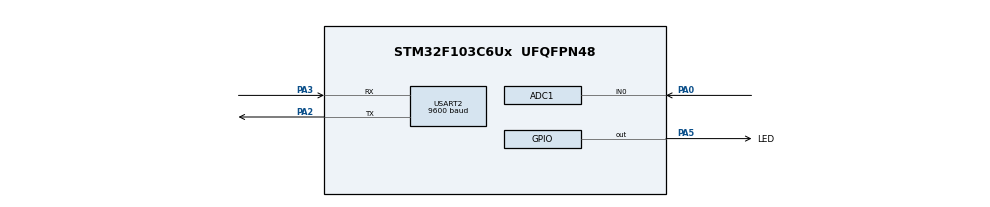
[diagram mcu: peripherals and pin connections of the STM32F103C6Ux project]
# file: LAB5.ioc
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ADC1.Channel-1\#ChannelRegularConversion=ADC_CHANNEL_0
ADC1.NbrOfConversionFlag=1
ADC1.Rank-1\#ChannelRegularConversion=1
ADC1.SamplingTime-1\#ChannelRegularConversion=ADC_SAMPLETIME_1CYCLE_5
ADC1.master=1
Mcu.Family=STM32F1
Mcu.Name=STM32F103C6Ux
Mcu.Package=UFQFPN48
NVIC.PriorityGroup=NVIC_PRIORITYGROUP_4
NVIC.TIM2_IRQn=true\:0\:0\:false\:false\:true\:true\:true
NVIC.USART2_IRQn=true\:0\:0\:false\:false\:true\:true\:true
PA0-WKUP.Signal=ADCx_IN0
PA2.Mode=Asynchronous
PA2.Signal=USART2_TX
PA3.Mode=Asynchronous
PA3.Signal=USART2_RX
PA5.GPIO_Label=LED
PA5.Signal=GPIO_Output
ProjectManager.HeapSize=0x200
ProjectManager.StackSize=0x400
ProjectManager.TargetToolchain=STM32CubeIDE
RCC.APB1Freq_Value=8000000
RCC.APB2Freq_Value=8000000
SH.ADCx_IN0.0=ADC1_IN0,IN0
TIM2.Period=9
TIM2.Prescaler=7999
USART2.BaudRate=9600
USART2.VirtualMode=VM_ASYNC
VP_SYS_VS_ND.Mode=No_Debug
VP_TIM2_VS_ClockSourceINT.Mode=Internal
board=custom

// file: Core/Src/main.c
/* USER CODE BEGIN Header */
/**
  ******************************************************************************
  * @file           : main.c
  * @brief          : Main program body
  ******************************************************************************
  * @attention
  *
  * <h2><center>&copy; Copyright (c) 2022 STMicroelectronics.
  * All rights reserved.</center></h2>
  *
  * This software component is licensed by ST under BSD 3-Clause license,
  * the "License"; You may not use this file except in compliance with the
  * License. You may obtain a copy of the License at:
  *                        opensource.org/licenses/BSD-3-Clause
  *
  ******************************************************************************
  */
/* USER CODE END Header */
#include "main.h"
#include "software_timer.h"
#include "stdlib.h"
#include "stdio.h"

ADC_HandleTypeDef hadc1;

TIM_HandleTypeDef htim2;

UART_HandleTypeDef huart2;

void SystemClock_Config(void);
static void MX_GPIO_Init(void);
static void MX_TIM2_Init(void);
static void MX_USART2_UART_Init(void);
static void MX_ADC1_Init(void);
/* USER CODE BEGIN PFP */
#define MAX_BUFFER_SIZE 30
#define RST 0
#define OK 1

uint8_t buffer[MAX_BUFFER_SIZE];

uint8_t index_buffer = 0;
uint8_t buffer_flag = 0;
uint8_t temp = 0;

uint32_t old_value;
uint32_t ADC_value;

int command_status = RST;
/* USER CODE END PFP */

/* USER CODE BEGIN 0 */
void HAL_UART_RxCpltCallback (UART_HandleTypeDef * huart){
	if( huart->Instance == USART2 ) {
		HAL_UART_Transmit (&huart2 , &temp , 1, 50);
		buffer[index_buffer++] = temp;

		if (buffer[index_buffer-1] == 8) {
			index_buffer-=2;
		}

		if (index_buffer == 30) index_buffer = 0;
		buffer_flag  = 1;
		HAL_UART_Receive_IT (&huart2, &temp, 1);
	}
}

int check(int loc){
	if (buffer[loc] == 13){
		return 1;
	}
	return 0;
}

void command_parser_fsm(void){
	switch(command_status){
		case RST:{
		  if (buffer[0] == '!' && buffer[1] == 'R' && buffer[2] == 'S' && buffer[3] == 'T' && buffer[4] == '#'){
			  old_value = ADC_value;
			  command_status = OK;
			  index_buffer = 0;
		  }
			break;
		}
		case OK:{
		  if (buffer[0] == '!' && buffer[1] == 'O' && buffer[2] == 'K' && buffer[3] == '#'){
			  command_status = RST;
			  index_buffer = 0;
		  }
		}
	}
}
/* USER CODE END 0 */

int main(void)
{

  /* MCU Configuration--------------------------------------------------------*/

  /* Reset of all peripherals, Initializes the Flash interface and the Systick. */
  HAL_Init();

  /* Configure the system clock */
  SystemClock_Config();

  /* Initialize all configured peripherals */
  MX_GPIO_Init();
  MX_TIM2_Init();
  MX_USART2_UART_Init();
  MX_ADC1_Init();
  /* USER CODE BEGIN 2 */
  HAL_TIM_Base_Start_IT (&htim2);
  HAL_UART_Receive_IT(&huart2, &temp, 1);

  HAL_ADC_Start(&hadc1);
  /* USER CODE END 2 */

  /* Infinite loop */
  /* USER CODE BEGIN WHILE */
  char str[20];
  setTimer0(100);
  while (1)
  {
    /* USER CODE END WHILE */
	  ADC_value = HAL_ADC_GetValue(&hadc1) ;
	 	  if(buffer_flag == 1){
	 		  buffer_flag = 0;
	 		  if (check(index_buffer-1) == 1){
	 			  command_parser_fsm();
	 		  }
	 	  }
	 	  // State ADC
	 	  if (command_status == 1){
	 		  if (timer0_flag == 1){
	 			  HAL_UART_Transmit (&huart2 , (void *) str , sprintf(str, "!ADC=%d#\r\n",old_value) , 500) ;
	 			  setTimer0(3000);
	 		  }
	 	  }
	 	  HAL_GPIO_TogglePin(LED_GPIO_Port , LED_Pin ) ;
	 	  HAL_Delay(500);
  }
}

void SystemClock_Config(void)
{
  RCC_OscInitTypeDef RCC_OscInitStruct = {0};
  RCC_ClkInitTypeDef RCC_ClkInitStruct = {0};
  RCC_PeriphCLKInitTypeDef PeriphClkInit = {0};

  /** Initializes the RCC Oscillators according to the specified parameters
  * in the RCC_OscInitTypeDef structure.
  */
  RCC_OscInitStruct.OscillatorType = RCC_OSCILLATORTYPE_HSI;
  RCC_OscInitStruct.HSIState = RCC_HSI_ON;
  RCC_OscInitStruct.HSICalibrationValue = RCC_HSICALIBRATION_DEFAULT;
  RCC_OscInitStruct.PLL.PLLState = RCC_PLL_NONE;
  if (HAL_RCC_OscConfig(&RCC_OscInitStruct) != HAL_OK)
  {
    Error_Handler();
  }
  /** Initializes the CPU, AHB and APB buses clocks
  */
  RCC_ClkInitStruct.ClockType = RCC_CLOCKTYPE_HCLK|RCC_CLOCKTYPE_SYSCLK
                              |RCC_CLOCKTYPE_PCLK1|RCC_CLOCKTYPE_PCLK2;
  RCC_ClkInitStruct.SYSCLKSource = RCC_SYSCLKSOURCE_HSI;
  RCC_ClkInitStruct.AHBCLKDivider = RCC_SYSCLK_DIV1;
  RCC_ClkInitStruct.APB1CLKDivider = RCC_HCLK_DIV1;
  RCC_ClkInitStruct.APB2CLKDivider = RCC_HCLK_DIV1;

  if (HAL_RCC_ClockConfig(&RCC_ClkInitStruct, FLASH_LATENCY_0) != HAL_OK)
  {
    Error_Handler();
  }
  PeriphClkInit.PeriphClockSelection = RCC_PERIPHCLK_ADC;
  PeriphClkInit.AdcClockSelection = RCC_ADCPCLK2_DIV2;
  if (HAL_RCCEx_PeriphCLKConfig(&PeriphClkInit) != HAL_OK)
  {
    Error_Handler();
  }
}

static void MX_ADC1_Init(void)
{

  ADC_ChannelConfTypeDef sConfig = {0};

  /** Common config
  */
  hadc1.Instance = ADC1;
  hadc1.Init.ScanConvMode = ADC_SCAN_DISABLE;
  hadc1.Init.ContinuousConvMode = DISABLE;
  hadc1.Init.DiscontinuousConvMode = DISABLE;
  hadc1.Init.ExternalTrigConv = ADC_SOFTWARE_START;
  hadc1.Init.DataAlign = ADC_DATAALIGN_RIGHT;
  hadc1.Init.NbrOfConversion = 1;
  if (HAL_ADC_Init(&hadc1) != HAL_OK)
  {
    Error_Handler();
  }
  /** Configure Regular Channel
  */
  sConfig.Channel = ADC_CHANNEL_0;
  sConfig.Rank = ADC_REGULAR_RANK_1;
  sConfig.SamplingTime = ADC_SAMPLETIME_1CYCLE_5;
  if (HAL_ADC_ConfigChannel(&hadc1, &sConfig) != HAL_OK)
  {
    Error_Handler();
  }

}

static void MX_TIM2_Init(void)
{

  TIM_ClockConfigTypeDef sClockSourceConfig = {0};
  TIM_MasterConfigTypeDef sMasterConfig = {0};

  htim2.Instance = TIM2;
  htim2.Init.Prescaler = 7999;
  htim2.Init.CounterMode = TIM_COUNTERMODE_UP;
  htim2.Init.Period = 9;
  htim2.Init.ClockDivision = TIM_CLOCKDIVISION_DIV1;
  htim2.Init.AutoReloadPreload = TIM_AUTORELOAD_PRELOAD_DISABLE;
  if (HAL_TIM_Base_Init(&htim2) != HAL_OK)
  {
    Error_Handler();
  }
  sClockSourceConfig.ClockSource = TIM_CLOCKSOURCE_INTERNAL;
  if (HAL_TIM_ConfigClockSource(&htim2, &sClockSourceConfig) != HAL_OK)
  {
    Error_Handler();
  }
  sMasterConfig.MasterOutputTrigger = TIM_TRGO_RESET;
  sMasterConfig.MasterSlaveMode = TIM_MASTERSLAVEMODE_DISABLE;
  if (HAL_TIMEx_MasterConfigSynchronization(&htim2, &sMasterConfig) != HAL_OK)
  {
    Error_Handler();
  }

}

static void MX_USART2_UART_Init(void)
{

  huart2.Instance = USART2;
  huart2.Init.BaudRate = 9600;
  huart2.Init.WordLength = UART_WORDLENGTH_8B;
  huart2.Init.StopBits = UART_STOPBITS_1;
  huart2.Init.Parity = UART_PARITY_NONE;
  huart2.Init.Mode = UART_MODE_TX_RX;
  huart2.Init.HwFlowCtl = UART_HWCONTROL_NONE;
  huart2.Init.OverSampling = UART_OVERSAMPLING_16;
  if (HAL_UART_Init(&huart2) != HAL_OK)
  {
    Error_Handler();
  }

}

static void MX_GPIO_Init(void)
{
  GPIO_InitTypeDef GPIO_InitStruct = {0};

  /* GPIO Ports Clock Enable */
  __HAL_RCC_GPIOA_CLK_ENABLE();

  /*Configure GPIO pin Output Level */
  HAL_GPIO_WritePin(LED_GPIO_Port, LED_Pin, GPIO_PIN_RESET);

  /*Configure GPIO pin : LED_Pin */
  GPIO_InitStruct.Pin = LED_Pin;
  GPIO_InitStruct.Mode = GPIO_MODE_OUTPUT_PP;
  GPIO_InitStruct.Pull = GPIO_NOPULL;
  GPIO_InitStruct.Speed = GPIO_SPEED_FREQ_LOW;
  HAL_GPIO_Init(LED_GPIO_Port, &GPIO_InitStruct);

}

void Error_Handler(void)
{
  __disable_irq();
  while (1)
  {
  }
}

/************************ (C) COPYRIGHT STMicroelectronics *****END OF FILE****/
